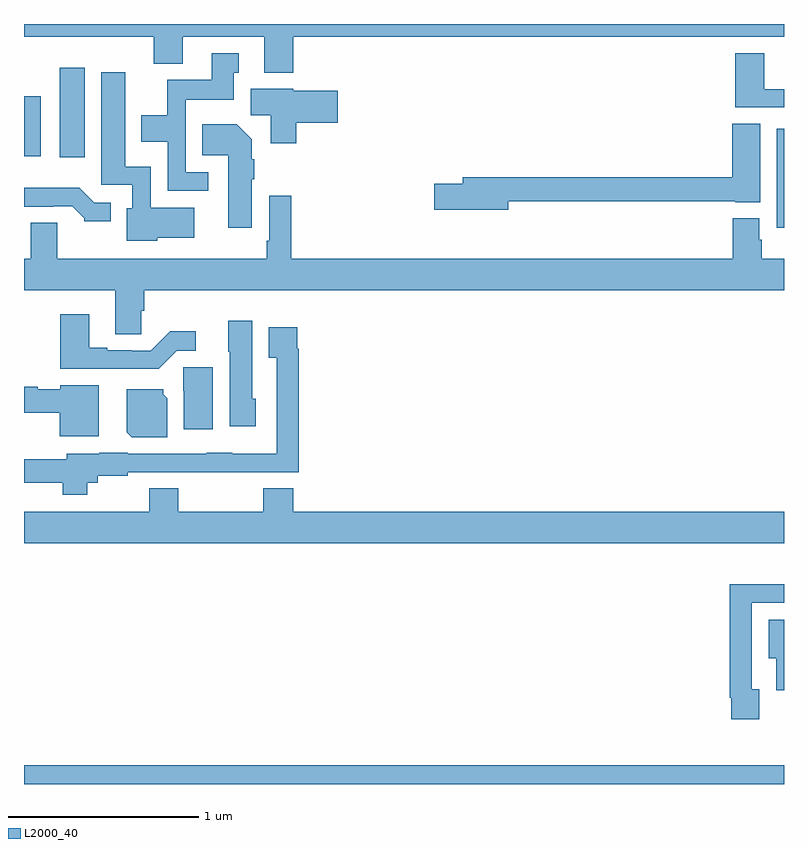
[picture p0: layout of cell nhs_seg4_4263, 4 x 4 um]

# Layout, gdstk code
import gdstk
lib = gdstk.Library(unit=1e-6, precision=1e-09)
def R(c, l, rs):  # rectangles x0, y0, x1, y1
    for r in rs: c.add(gdstk.rectangle(r[:2], r[2:], *l))
def P(c, l, *ps):  # polygons
    for p in ps: c.add(gdstk.Polygon(p, *l))
L2000_40 = (2000, 40)

nhs_seg4_4263 = lib.new_cell('nhs_seg4_4263')
R(nhs_seg4_4263, L2000_40, [(339,780.9,343,781), (342.962,783.828,343,784.348), (339.188,784.2,339.319,784.669), (339,784.205,339.088,784.519)])
P(nhs_seg4_4263, L2000_40, [(340.418,784.832),(343,784.832),(343,784.9),(339,784.9),(339,784.832),(339.683,784.832),(339.683,784.691),(339.835,784.691),(339.835,784.832),(340.265,784.832),(340.265,784.643),(340.418,784.643)],
  [(339.97,784.119),(339.852,784.119),(339.852,784.502),(340.105,784.502),(340.105,784.644),(340.129,784.644),(340.129,784.747),(339.989,784.747),(339.989,784.606),(339.754,784.606),(339.754,784.42),(339.617,784.42),(339.617,784.28),(339.756,784.28),(339.756,784.023),(339.97,784.023)],
  [(343,784.557),(342.895,784.557),(342.895,784.747),(342.743,784.747),(342.743,784.461),(343,784.461)],
  [(339.702,783.776),(339.895,783.776),(339.895,783.934),(339.666,783.934),(339.666,784.15),(339.532,784.15),(339.532,784.645),(339.407,784.645),(339.407,784.053),(339.57,784.053),(339.57,783.93),(339.542,783.93),(339.542,783.758),(339.702,783.758)],
  [(340.433,784.379),(340.651,784.379),(340.651,784.549),(340.416,784.549),(340.416,784.558),(340.193,784.558),(340.193,784.42),(340.298,784.42),(340.298,784.272),(340.433,784.272)],
  [(341.548,783.966),(342.744,783.966),(342.744,783.962),(342.874,783.962),(342.874,784.376),(342.728,784.376),(342.728,784.094),(341.309,784.094),(341.309,784.058),(341.16,784.058),(341.16,783.923),(341.548,783.923)],
  [(340.198,784.084),(340.211,784.084),(340.211,784.187),(340.198,784.187),(340.198,784.294),(340.12,784.372),(339.937,784.372),(339.937,784.208),(340.076,784.208),(340.076,783.828),(340.198,783.828)],
  [(339.457,783.96),(339.369,783.96),(339.291,784.039),(339,784.039),(339,783.939),(339.155,783.939),(339.155,783.942),(339.254,783.942),(339.318,783.878),(339.318,783.863),(339.457,783.863)],
  [(339.618,783.39),(339.632,783.39),(339.632,783.5),(343,783.5),(343,783.664),(342.884,783.664),(342.884,783.765),(342.871,783.765),(342.871,783.877),(342.731,783.877),(342.731,783.664),(340.406,783.664),(340.406,783.997),(340.29,783.997),(340.29,783.76),(340.278,783.76),(340.278,783.664),(339.175,783.664),(339.175,783.854),(339.035,783.854),(339.035,783.664),(339,783.664),(339,783.5),(339.479,783.5),(339.479,783.268),(339.618,783.268)],
  [(339.804,783.18),(339.904,783.18),(339.904,783.283),(339.769,783.283),(339.666,783.18),(339.566,783.18),(339.566,783.183),(339.439,783.183),(339.439,783.196),(339.343,783.196),(339.343,783.373),(339.191,783.373),(339.191,783.086),(339.71,783.086)],
  [(340.219,782.928),(340.201,782.928),(340.201,783.337),(340.076,783.337),(340.076,783.174),(340.082,783.174),(340.082,782.784),(340.219,782.784)],
  [(339.334,782.486),(339.389,782.486),(339.389,782.522),(339.546,782.522),(339.546,782.541),(339.963,782.541),(339.963,782.54),(340.195,782.54),(340.195,782.541),(340.445,782.541),(340.445,783.191),(340.438,783.191),(340.438,783.304),(340.289,783.304),(340.289,783.143),(340.329,783.143),(340.329,782.638),(340.095,782.638),(340.095,782.644),(339.963,782.644),(339.963,782.637),(339.546,782.637),(339.546,782.644),(339.396,782.644),(339.396,782.638),(339.224,782.638),(339.224,782.608),(339,782.608),(339,782.486),(339.205,782.486),(339.205,782.423),(339.334,782.423)],
  [(339.994,783.093),(339.838,783.093),(339.838,782.97),(339.842,782.97),(339.842,782.766),(339.994,782.766)],
  [(339.394,782.998),(339.192,782.998),(339.192,782.977),(339.072,782.977),(339.072,782.99),(339,782.99),(339,782.855),(339.188,782.855),(339.188,782.729),(339.394,782.729)],
  [(339.754,782.93),(339.732,782.952),(339.732,782.977),(339.542,782.977),(339.542,782.752),(339.568,782.726),(339.754,782.726)],
  [(343,782.332),(340.418,782.332),(340.418,782.456),(340.258,782.456),(340.258,782.332),(339.813,782.332),(339.813,782.456),(339.658,782.456),(339.658,782.332),(339,782.332),(339,782.168),(343,782.168)],
  [(342.871,781.398),(342.831,781.398),(342.831,781.854),(343,781.854),(343,781.952),(342.715,781.952),(342.715,781.354),(342.723,781.354),(342.723,781.242),(342.871,781.242)],
  [(343,781.765),(342.92,781.765),(342.92,781.562),(342.959,781.562),(342.959,781.394),(343,781.394)])

lib.write_gds('nhs_seg4_4263.gds')
